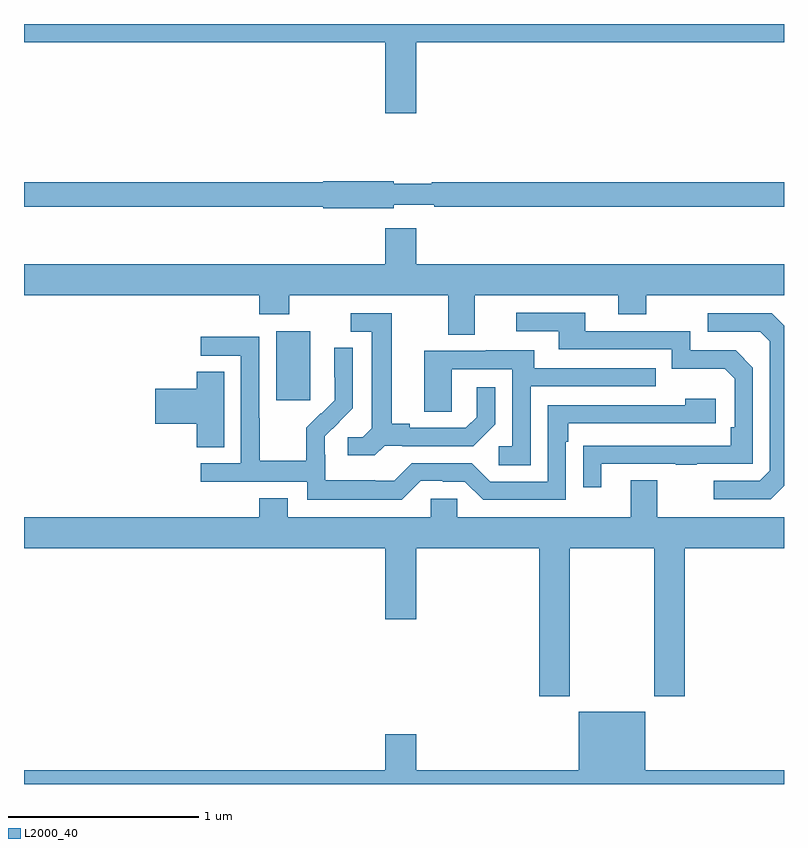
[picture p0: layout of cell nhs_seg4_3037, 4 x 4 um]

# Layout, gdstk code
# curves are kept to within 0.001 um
import gdstk
lib = gdstk.Library(unit=1e-6, precision=1e-09)
def R(c, l, rs):  # rectangles x0, y0, x1, y1
    for r in rs: c.add(gdstk.rectangle(r[:2], r[2:], *l))
def P(c, l, *ps):  # polygons
    for p in ps: c.add(gdstk.Polygon(p, *l))
L2000_40 = (2000, 40)

nhs_seg4_3037 = lib.new_cell('nhs_seg4_3037')
R(nhs_seg4_3037, L2000_40, [(272.327,810.921,272.506,811.282)])
P(nhs_seg4_3037, L2000_40, [(273.064,812.804),(275,812.804),(275,812.9),(271,812.9),(271,812.804),(272.9,812.804),(272.9,812.43),(273.064,812.43)],
  [(272.946,811.95),(273.16,811.95),(273.16,811.938),(275,811.938),(275,812.066),(273.146,812.066),(273.146,812.059),(272.946,812.059),(272.946,812.072),(272.574,812.072),(272.574,812.066),(271,812.066),(271,811.938),(272.574,811.938),(272.574,811.93),(272.946,811.93)],
  [(273.373,811.472),(274.127,811.472),(274.127,811.373),(274.275,811.373),(274.275,811.472),(275,811.472),(275,811.636),(273.064,811.636),(273.064,811.825),(272.9,811.825),(272.9,811.636),(271,811.636),(271,811.472),(272.237,811.472),(272.237,811.373),(272.397,811.373),(272.397,811.472),(273.233,811.472),(273.233,811.264),(273.373,811.264)],
  [(274.039,810.585),(274.429,810.585),(274.429,810.58),(274.541,810.58),(274.541,810.585),(274.836,810.585),(274.836,811.092),(274.746,811.182),(274.506,811.182),(274.506,811.284),(273.955,811.284),(273.955,811.38),(273.591,811.38),(273.591,811.284),(273.815,811.284),(273.815,811.188),(274.41,811.188),(274.41,811.085),(274.687,811.085),(274.74,811.032),(274.74,810.778),(274.72,810.778),(274.72,810.681),(273.943,810.68),(273.943,810.462),(274.039,810.462)],
  [(275,810.47),(275,811.312),(274.935,811.377),(274.599,811.377),(274.599,811.281),(274.875,811.281),(274.926,811.23),(274.926,810.549),(274.872,810.495),(274.629,810.495),(274.629,810.399),(274.929,810.399)],
  [(272.898,810.681),(272.992,810.681),(272.992,810.678),(273.364,810.678),(273.48,810.794),(273.48,810.988),(273.383,810.988),(273.383,810.831),(273.326,810.774),(273.031,810.774),(273.031,810.797),(272.935,810.797),(272.935,811.377),(272.721,811.377),(272.721,811.281),(272.831,811.281),(272.831,810.773),(272.784,810.726),(272.703,810.726),(272.703,810.629),(272.846,810.629)],
  [(273.087,810.495),(273.203,810.495),(273.203,810.492),(273.321,810.492),(273.417,810.396),(273.852,810.396),(273.852,810.701),(273.865,810.701),(273.865,810.798),(274.642,810.798),(274.642,810.928),(274.481,810.928),(274.481,810.894),(273.756,810.894),(273.756,810.492),(273.453,810.492),(273.357,810.588),(273.042,810.588),(272.949,810.495),(272.849,810.495),(272.849,810.499),(272.586,810.499),(272.586,810.633),(272.584,810.633),(272.584,810.73),(272.73,810.878),(272.73,811.196),(272.634,811.196),(272.634,811.042),(272.636,811.042),(272.636,810.92),(272.565,810.849),(272.562,810.852),(272.485,810.775),(272.485,810.601),(272.241,810.601),(272.241,810.824),(272.238,810.824),(272.238,811.254),(271.929,811.254),(271.929,811.155),(272.142,811.155),(272.142,810.588),(271.929,810.588),(271.929,810.492),(272.49,810.492),(272.49,810.395),(272.987,810.395)],
  [(273.666,810.993),(274.325,810.993),(274.325,811.089),(273.685,811.089),(273.685,811.183),(273.431,811.183),(273.431,811.179),(273.107,811.179),(273.107,810.859),(273.252,810.859),(273.252,811.083),(273.57,811.083),(273.57,810.678),(273.498,810.678),(273.498,810.577),(273.666,810.577)],
  [(272.053,811.07),(271.91,811.07),(271.91,810.98),(271.692,810.98),(271.692,810.797),(271.91,810.797),(271.91,810.673),(272.053,810.673)],
  [(273.873,810.14),(274.318,810.14),(274.318,809.361),(274.478,809.361),(274.478,810.14),(275,810.14),(275,810.304),(274.333,810.304),(274.333,810.499),(274.193,810.499),(274.193,810.304),(273.279,810.304),(273.279,810.402),(273.141,810.402),(273.141,810.304),(272.389,810.304),(272.389,810.403),(272.237,810.403),(272.237,810.304),(271,810.304),(271,810.14),(272.9,810.14),(272.9,809.766),(273.064,809.766),(273.064,810.14),(273.713,810.14),(273.713,809.361),(273.873,809.361)],
  [(275,808.972),(274.27,808.972),(274.27,809.281),(273.92,809.281),(273.92,808.972),(273.064,808.972),(273.064,809.161),(272.9,809.161),(272.9,808.972),(271,808.972),(271,808.9),(275,808.9)])

lib.write_gds('nhs_seg4_3037.gds')
